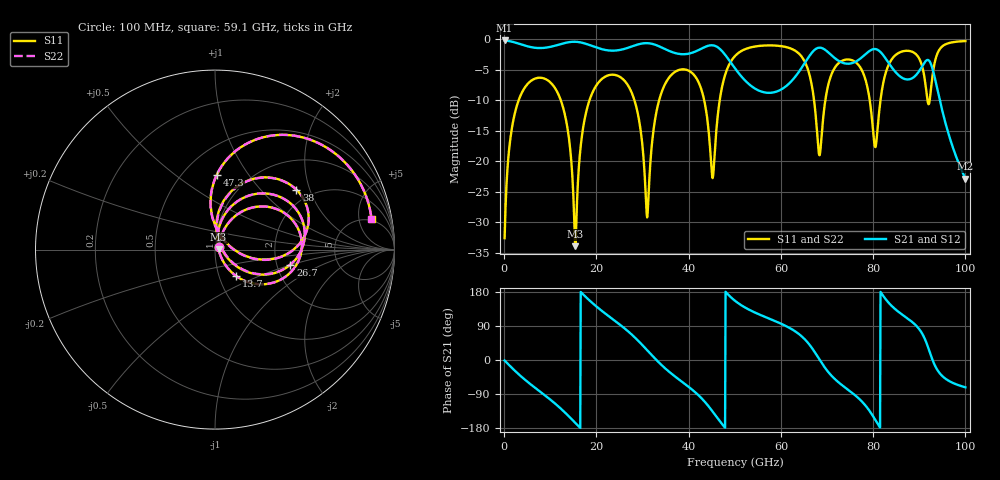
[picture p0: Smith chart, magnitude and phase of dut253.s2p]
! Touchstone file exported from HFSS 2026.1.0
!  File:  C:/ffzhzh/LocalFiles/Ansys_Project_Files/temp_train_TSV_RDL_253_1783671454_29156.aedt
!  Generated:  04:27:34 PM Jul 10, 2026
!  Design:  TSV_RDL
!  Project:  temp_train_TSV_RDL_253_1783671454_29156
! Variables:
!  h_bsmrdl = 2.57um
!  h_ox = 20um
!  h_rdl = 5um
!  h_sub = 90.77um
!  h_tmrdl = 3.8um
!  h_tsv = 90.77um
!  h_via = 3um
!  l_bsmrdl = 384.13um
!  l_sub = 3221.14um
!  l_tmrdl = 390.45um
!  m_sub = 200um
!  pitch = 48.97um
!  r_tsv = 13.44um
!  s_tmrdl = 10um
!  w_bsmrdl = 23.94um
!  w_sub = 500um
!  w_tmrdl = 11.71um
!  x_tsv_center1 = 396.305um
!  x_tsv_center2 = 804.375um
!  x_tsv_center3 = 1206.535um
!  x_tsv_center4 = 1614.605um
!  x_tsv_center5 = 2016.765um
!  x_tsv_center6 = 2424.835um
# GHz S MA R 50.000000
! Terminal data exported
! Port[1] = TM_RDL1_1_T1
! Port[2] = TM_RDL5_1_T1
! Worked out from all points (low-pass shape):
!   1000 points, 100 MHz to 100 GHz, reference 50 ohm
!   highest |S21| = -0.18 dB at 100 MHz (marker M1); lowest = -22.8 dB at 100 GHz (marker M2)
!   |S21| within 3 dB of the highest: start of sweep to 48.56 GHz; 65.77 GHz to 71.87 GHz (6.096 GHz wide, 8.86 % of centre) (the widest 2 of 3)
!   lowest |S11| = -33.9 dB at 15.4 GHz (marker M3), VSWR 1.04, Z = 52.1 + j0.114 ohm
!   |S11| at or under -10 dB: 12.29 GHz to 18.49 GHz (6.203 GHz wide, 40.3 % of centre); 28.25 GHz to 33.59 GHz (5.336 GHz wide, 17.3 % of centre); 43.38 GHz to 46.73 GHz (3.351 GHz wide, 7.44 % of centre) (the widest 3 of 7)
!   |S22| runs from -33.9 to -0.3 dB; largest |S21 - S12| = 1.1e-12
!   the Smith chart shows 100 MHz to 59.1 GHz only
!   S11 on the Smith chart (normalised r, x): 100 MHz: 1.04, +0.02; 13.7 GHz: 1.21, -0.37; 26.7 GHz: 2.38, -0.49; 38 GHz: 1.66, +1.63; 47.3 GHz: 0.72, +0.72; 59.1 GHz: 4.66, +7.51
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0.1  0.02343 30.6  0.98 -1.3  0.98 -1.3  0.02343 30.6
! Gamma 0 0 0 0
! Port Impedance 50 0 50 0
4.5  0.4038 34.7  0.8895 -51.9  0.8895 -51.9  0.4038 34.7
13.7  0.1902 -51.2  0.9441 -144.7  0.9441 -144.7  0.1902 -51.2
15.4  0.02017 3.1  0.9562 -165.6  0.9562 -165.6  0.02016 3.1
16.8  0.155 78.2  0.9406 177.1  0.9406 177.1  0.155 78.2
26.7  0.4283 -11.4  0.85 77.4  0.85 77.4  0.4283 -11.1
31  0.03473 23.9  0.9314 26.0  0.9314 26.0  0.03744 24.1
33.4  0.2965 78.2  0.8841 -4.7  0.8841 -4.7  0.2969 77.7
38  0.563 36.4  0.7595 -52.4  0.7595 -52.4  0.5631 36.2
45.2  0.07291 41.7  0.8941 -136.1  0.8941 -136.1  0.07145 41.7
47.3  0.4173 88.5  0.7971 -170.0  0.7971 -170.0  0.4172 88.7
50.1  0.7339 60.5  0.5755 155.8  0.5755 155.8  0.7339 60.6
59.1  0.8885 11.0  0.3739 100.8  0.3739 100.8  0.8885 11.1
66.7  0.42 -43.5  0.7765 32.2  0.7765 32.2  0.4208 -43.0
68.4  0.1123 7.1  0.8554 0.6  0.8554 0.6  0.1167 7.0
70.9  0.5088 41.2  0.7451 -40.5  0.7451 -40.5  0.5096 40.8
77.2  0.59 -9.7  0.695 -105.1  0.695 -105.1  0.5898 -10.1
80.5  0.131 23.6  0.8329 -158.5  0.8329 -158.5  0.1278 23.6
83.4  0.6233 51.0  0.6385 150.5  0.6385 150.5  0.623 51.2
88.6  0.7878 11.7  0.4838 98.9  0.4838 98.9  0.7879 11.8
92.3  0.325 39.9  0.6554 19.8  0.6554 19.8  0.3242 39.9
100  0.9691 11.5  0.07227 -72.1  0.07227 -72.1  0.969 11.6
